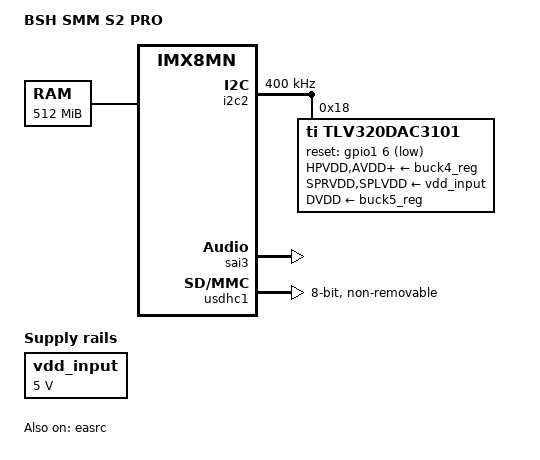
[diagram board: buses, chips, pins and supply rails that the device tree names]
// SPDX-License-Identifier: GPL-2.0+
/*
 * Copyright 2021 Collabora Ltd.
 * Copyright 2021 BSH Hausgeraete GmbH
 */

/dts-v1/;

#include "imx8mn-bsh-smm-s2-common.dtsi"
#include <dt-bindings/sound/tlv320aic31xx.h>

/ {
	model = "BSH SMM S2 PRO";
	compatible = "bsh,imx8mn-bsh-smm-s2pro", "fsl,imx8mn";

	memory@40000000 {
		device_type = "memory";
		reg = <0x0 0x40000000 0x0 0x20000000>;
	};

	sound-tlv320aic31xx {
		compatible = "fsl,imx-audio-tlv320aic31xx";
		model = "tlv320aic31xx-hifi";
		audio-cpu = <&sai3>;
		audio-codec = <&tlv320dac3101>;
		audio-asrc = <&easrc>;
		audio-routing =
			"Ext Spk", "SPL",
			"Ext Spk", "SPR";
		mclk-id = <PLL_CLKIN_BCLK>;
	};

	vdd_input: vdd_input {
		compatible = "regulator-fixed";
		regulator-name = "vdd_input";
		regulator-min-microvolt = <5000000>;
		regulator-max-microvolt = <5000000>;
	};
};

&easrc {
	fsl,asrc-rate = <48000>;
	fsl,asrc-format = <10>;
	status = "okay";
};

&i2c2 {
	clock-frequency = <400000>;
	pinctrl-names = "default";
	pinctrl-0 = <&pinctrl_i2c2>;
	status = "okay";

	tlv320dac3101: audio-codec@18 {
		compatible = "ti,tlv320dac3101";
		pinctrl-names = "default";
		pinctrl-0 = <&pinctrl_dac_rst>;
		reg = <0x18>;
		#sound-dai-cells = <0>;
		HPVDD-supply = <&buck4_reg>;
		SPRVDD-supply = <&vdd_input>;
		SPLVDD-supply = <&vdd_input>;
		AVDD-supply = <&buck4_reg>;
		IOVDD-supply = <&buck4_reg>;
		DVDD-supply = <&buck5_reg>;
		reset-gpios = <&gpio1 6 GPIO_ACTIVE_LOW>;
		ai31xx-micbias-vg = <MICBIAS_AVDDV>;
		clocks = <&clk IMX8MN_CLK_SAI3_ROOT>;
	};
};

&sai3 {
	pinctrl-names = "default";
	pinctrl-0 = <&pinctrl_sai3>;
	assigned-clocks = <&clk IMX8MN_CLK_SAI3>;
	assigned-clock-parents = <&clk IMX8MN_AUDIO_PLL1_OUT>;
	assigned-clock-rates = <24576000>;
	fsl,sai-mclk-direction-output;
	status = "okay";
};

/* eMMC */
&usdhc1 {
	pinctrl-names = "default", "state_100mhz", "state_200mhz";
	pinctrl-0 = <&pinctrl_usdhc1>;
	pinctrl-1 = <&pinctrl_usdhc1_100mhz>;
	pinctrl-2 = <&pinctrl_usdhc1_200mhz>;
	bus-width = <8>;
	non-removable;
	status = "okay";
};

&iomuxc {
	pinctrl_dac_rst: dacrstgrp {
		fsl,pins = <
			MX8MN_IOMUXC_GPIO1_IO06_GPIO1_IO6		0x19 /* DAC_RST */
		>;
	};

	pinctrl_espi2: espi2grp {
		fsl,pins = <
			MX8MN_IOMUXC_ECSPI2_SCLK_ECSPI2_SCLK		0x082
			MX8MN_IOMUXC_ECSPI2_MOSI_ECSPI2_MOSI		0x082
			MX8MN_IOMUXC_ECSPI2_MISO_ECSPI2_MISO		0x082
			MX8MN_IOMUXC_ECSPI2_SS0_ECSPI2_SS0		0x040
		>;
	};

	pinctrl_i2c2: i2c2grp {
		fsl,pins = <
			MX8MN_IOMUXC_I2C2_SCL_I2C2_SCL			0x400000c3
			MX8MN_IOMUXC_I2C2_SDA_I2C2_SDA			0x400000c3
		>;
	};

	pinctrl_sai3: sai3grp {
		fsl,pins = <
			MX8MN_IOMUXC_SAI3_TXFS_SAI3_TX_SYNC		0xd6
			MX8MN_IOMUXC_SAI3_TXC_SAI3_TX_BCLK		0xd6
			MX8MN_IOMUXC_SAI3_TXD_SAI3_TX_DATA0		0xd6
		>;
	};

	pinctrl_usdhc1: usdhc1grp {
		fsl,pins = <
			MX8MN_IOMUXC_SD1_CLK_USDHC1_CLK			0x40000090
			MX8MN_IOMUXC_SD1_CMD_USDHC1_CMD			0x0d0
			MX8MN_IOMUXC_SD1_DATA0_USDHC1_DATA0		0x0d0
			MX8MN_IOMUXC_SD1_DATA1_USDHC1_DATA1		0x0d0
			MX8MN_IOMUXC_SD1_DATA2_USDHC1_DATA2		0x0d0
			MX8MN_IOMUXC_SD1_DATA3_USDHC1_DATA3		0x0d0
			MX8MN_IOMUXC_SD1_DATA4_USDHC1_DATA4		0x0d0
			MX8MN_IOMUXC_SD1_DATA5_USDHC1_DATA5		0x0d0
			MX8MN_IOMUXC_SD1_DATA6_USDHC1_DATA6		0x0d0
			MX8MN_IOMUXC_SD1_DATA7_USDHC1_DATA7		0x0d0
			MX8MN_IOMUXC_SD1_STROBE_USDHC1_STROBE		0x090
		>;
	};

	pinctrl_usdhc1_100mhz: usdhc1grp100mhz {
		fsl,pins = <
			MX8MN_IOMUXC_SD1_CLK_USDHC1_CLK			0x40000094
			MX8MN_IOMUXC_SD1_CMD_USDHC1_CMD			0x0d4
			MX8MN_IOMUXC_SD1_DATA0_USDHC1_DATA0		0x0d4
			MX8MN_IOMUXC_SD1_DATA1_USDHC1_DATA1		0x0d4
			MX8MN_IOMUXC_SD1_DATA2_USDHC1_DATA2		0x0d4
			MX8MN_IOMUXC_SD1_DATA3_USDHC1_DATA3		0x0d4
			MX8MN_IOMUXC_SD1_DATA4_USDHC1_DATA4		0x0d4
			MX8MN_IOMUXC_SD1_DATA5_USDHC1_DATA5		0x0d4
			MX8MN_IOMUXC_SD1_DATA6_USDHC1_DATA6		0x0d4
			MX8MN_IOMUXC_SD1_DATA7_USDHC1_DATA7		0x0d4
			MX8MN_IOMUXC_SD1_STROBE_USDHC1_STROBE		0x094
		>;
	};

	pinctrl_usdhc1_200mhz: usdhc1grp200mhz {
		fsl,pins = <
			MX8MN_IOMUXC_SD1_CLK_USDHC1_CLK			0x40000096
			MX8MN_IOMUXC_SD1_CMD_USDHC1_CMD			0x0d6
			MX8MN_IOMUXC_SD1_DATA0_USDHC1_DATA0		0x0d6
			MX8MN_IOMUXC_SD1_DATA1_USDHC1_DATA1		0x0d6
			MX8MN_IOMUXC_SD1_DATA2_USDHC1_DATA2		0x0d6
			MX8MN_IOMUXC_SD1_DATA3_USDHC1_DATA3		0x0d6
			MX8MN_IOMUXC_SD1_DATA4_USDHC1_DATA4		0x0d6
			MX8MN_IOMUXC_SD1_DATA5_USDHC1_DATA5		0x0d6
			MX8MN_IOMUXC_SD1_DATA6_USDHC1_DATA6		0x0d6
			MX8MN_IOMUXC_SD1_DATA7_USDHC1_DATA7		0x0d6
			MX8MN_IOMUXC_SD1_STROBE_USDHC1_STROBE		0x096
		>;
	};
};
